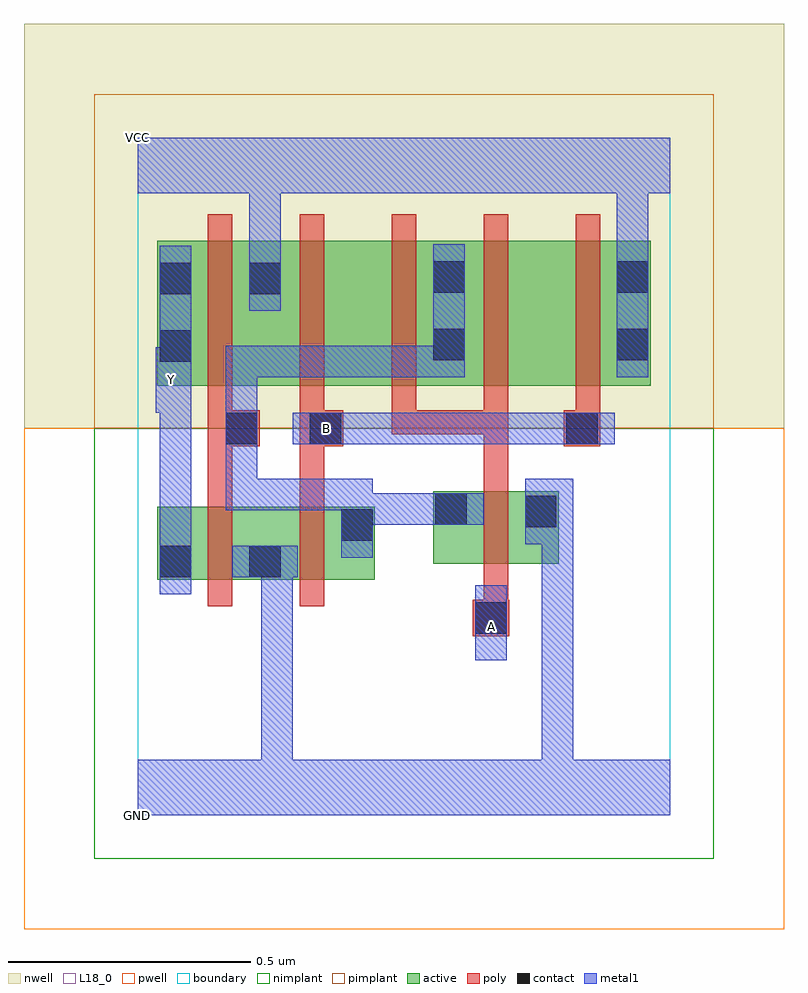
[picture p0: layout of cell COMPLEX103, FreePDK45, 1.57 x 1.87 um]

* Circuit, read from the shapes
.subckt COMPLEX103 A B GND VCC Y
M1 GND n1 Y VSUBS nfet w=0.15u l=0.05u
M2 n1 B GND VSUBS nfet w=0.15u l=0.05u
M3 GND A n1 VSUBS nfet w=0.15u l=0.05u
M4 VCC n1 Y n2 pfet w=0.3u l=0.05u
M5 n3 B VCC n2 pfet w=0.3u l=0.05u
M6 n1 A n3 n2 pfet w=0.3u l=0.05u
M7 n4 A n1 n2 pfet w=0.3u l=0.05u
M8 VCC B n4 n2 pfet w=0.3u l=0.05u
.ends

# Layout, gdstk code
import gdstk
lib = gdstk.Library(unit=1e-6, precision=1e-09)
def R(c, l, rs):  # rectangles x0, y0, x1, y1
    for r in rs: c.add(gdstk.rectangle(r[:2], r[2:], *l))
def A(c, l, x, y, w, h, nx, ny, dx, dy):  # array of equal rectangles
    R(c, l, [(x+i*dx, y+j*dy, x+i*dx+w, y+j*dy+h) for i in range(nx) for j in range(ny)])
active = (1, 0)
pwell = (2, 0)
nwell = (3, 0)
nimplant = (4, 0)
pimplant = (5, 0)
poly = (9, 0)
contact = (10, 0)
metal1 = (11, 0)
L18_0 = (18, 0)
boundary = (235, 0)

complex103 = lib.new_cell('COMPLEX103')
R(complex103, active, [(0.04,0.487,0.3,0.637), (0.04,0.487,0.115,0.637), (0.225,0.487,0.3,0.562), (0.225,0.487,0.49,0.637), (0.415,0.487,0.49,0.637), (0.61,0.52,0.87,0.67), (0.795,0.59,0.87,0.67), (0.61,0.595,0.685,0.67), (0.04,0.887,0.115,1.155), (0.04,0.887,0.3,1.187), (0.225,0.887,0.3,1.187), (0.225,0.887,0.455,1.187), (0.455,0.887,0.68,1.187), (0.605,0.887,0.835,1.187), (0.605,0.887,0.68,1.155), (0.835,0.887,1.06,1.187), (0.985,0.887,1.06,1.187)])
R(complex103, pwell, [(-0.235,-0.235,1.335,0.8)])
R(complex103, nwell, [(-0.235,0.8,1.335,1.635)])
R(complex103, nimplant, [(-0.09,-0.09,1.19,0.8)])
R(complex103, pimplant, [(-0.09,0.8,1.19,1.49)])
A(complex103, poly, 0.145, 0.787, 0.05, 0.095, 5, 1, 0.19, 0)
A(complex103, poly, 0.145, 0.832, 0.05, 0.41, 5, 1, 0.19, 0)
R(complex103, poly, [(0.692,0.37,0.767,0.445), (0.715,0.395,0.765,0.515), (0.145,0.432,0.195,0.692), (0.335,0.432,0.385,0.692), (0.715,0.465,0.765,0.725), (0.145,0.642,0.195,0.812), (0.335,0.642,0.385,0.812), (0.715,0.675,0.765,0.837), (0.145,0.762,0.252,0.837), (0.335,0.762,0.425,0.837), (0.88,0.762,0.955,0.837), (0.525,0.787,0.575,0.837), (0.525,0.787,0.765,0.837), (0.715,0.787,0.765,0.837), (0.715,0.787,0.765,0.837), (0.715,0.787,0.765,0.837)])
R(complex103, contact, [(0.697,0.375,0.762,0.44), (0.045,0.492,0.11,0.557), (0.23,0.492,0.295,0.557), (0.42,0.567,0.485,0.632), (0.8,0.595,0.865,0.66), (0.615,0.6,0.68,0.665), (0.182,0.767,0.247,0.832), (0.355,0.767,0.42,0.832), (0.885,0.767,0.95,0.832), (0.045,0.937,0.11,1.002), (0.61,0.94,0.675,1.005), (0.99,0.94,1.055,1.005), (0.045,1.077,0.11,1.142), (0.23,1.077,0.295,1.142), (0.61,1.08,0.675,1.145), (0.99,1.08,1.055,1.145)])
R(complex103, metal1, [(0,0,1.1,0.115), (0.255,0.05,0.32,0.115), (0.255,0.05,0.32,0.115), (0.255,0.05,0.32,0.115), (0.255,0.05,0.32,0.115), (0.255,0.05,0.32,0.115), (0.255,0.05,0.32,0.115), (0.255,0.05,0.32,0.115), (0.255,0.05,0.32,0.115), (0.255,0.05,0.32,0.557), (0.835,0.05,0.9,0.115), (0.835,0.05,0.9,0.115), (0.835,0.05,0.9,0.115), (0.835,0.05,0.9,0.115), (0.835,0.05,0.9,0.115), (0.835,0.05,0.9,0.115), (0.835,0.05,0.9,0.115), (0.835,0.05,0.9,0.115), (0.835,0.05,0.9,0.625), (0.697,0.32,0.762,0.475), (0.045,0.457,0.11,0.592), (0.195,0.492,0.33,0.557), (0.045,0.527,0.11,0.897), (0.42,0.532,0.485,0.667), (0.8,0.56,0.9,0.695), (0.42,0.6,0.625,0.665), (0.56,0.6,0.625,0.665), (0.56,0.6,0.645,0.665), (0.58,0.6,0.715,0.665), (0.42,0.602,0.485,0.667), (0.42,0.602,0.485,0.695), (0.182,0.63,0.247,0.695), (0.182,0.63,0.485,0.695), (0.182,0.63,0.247,0.867), (0.182,0.732,0.247,0.867), (0.32,0.767,0.457,0.832), (0.392,0.767,0.457,0.832), (0.392,0.767,0.457,0.832), (0.392,0.767,0.622,0.832), (0.557,0.767,0.622,0.832), (0.557,0.767,0.622,0.832), (0.557,0.767,0.622,0.832), (0.557,0.767,0.762,0.832), (0.697,0.767,0.762,0.832), (0.697,0.767,0.762,0.832), (0.697,0.767,0.762,0.832), (0.697,0.767,0.915,0.832), (0.85,0.767,0.985,0.832), (0.182,0.802,0.247,0.867), (0.182,0.802,0.247,0.867), (0.182,0.802,0.247,0.97), (0.037,0.832,0.11,0.967), (0.045,0.902,0.11,0.967), (0.045,0.902,0.11,1.177), (0.182,0.905,0.247,0.97), (0.182,0.905,0.485,0.97), (0.42,0.905,0.485,0.97), (0.42,0.905,0.485,0.97), (0.42,0.905,0.485,0.97), (0.42,0.905,0.622,0.97), (0.557,0.905,0.622,0.97), (0.557,0.905,0.675,0.97), (0.61,0.905,0.675,1.18), (0.99,0.905,1.055,1.18), (0.23,1.042,0.295,1.177), (0.23,1.112,0.295,1.35), (0.99,1.115,1.055,1.35), (0,1.285,1.1,1.4), (0.23,1.285,0.295,1.35), (0.23,1.285,0.295,1.35), (0.99,1.285,1.055,1.35), (0.99,1.285,1.055,1.35)])
R(complex103, L18_0, [(0,0,1.1,0.115), (0.255,0.05,0.32,0.115), (0.255,0.05,0.32,0.115), (0.255,0.05,0.32,0.115), (0.255,0.05,0.32,0.115), (0.255,0.05,0.32,0.115), (0.255,0.05,0.32,0.115), (0.255,0.05,0.32,0.115), (0.255,0.05,0.32,0.115), (0.255,0.05,0.32,0.557), (0.835,0.05,0.9,0.115), (0.835,0.05,0.9,0.115), (0.835,0.05,0.9,0.115), (0.835,0.05,0.9,0.115), (0.835,0.05,0.9,0.115), (0.835,0.05,0.9,0.115), (0.835,0.05,0.9,0.115), (0.835,0.05,0.9,0.115), (0.835,0.05,0.9,0.625), (0.697,0.32,0.762,0.475), (0.697,0.357,0.762,0.422), (0.045,0.457,0.11,0.592), (0.195,0.492,0.33,0.557), (0.045,0.527,0.11,0.897), (0.8,0.56,0.9,0.695), (0.32,0.767,0.457,0.832), (0.357,0.767,0.422,0.832), (0.392,0.767,0.457,0.832), (0.392,0.767,0.457,0.832), (0.392,0.767,0.622,0.832), (0.557,0.767,0.622,0.832), (0.557,0.767,0.622,0.832), (0.557,0.767,0.622,0.832), (0.557,0.767,0.762,0.832), (0.697,0.767,0.762,0.832), (0.697,0.767,0.762,0.832), (0.697,0.767,0.762,0.832), (0.697,0.767,0.915,0.832), (0.85,0.767,0.985,0.832), (0.037,0.832,0.11,0.967), (0.037,0.867,0.102,0.932), (0.045,0.902,0.11,1.177), (0.045,0.902,0.11,0.967), (0.99,0.905,1.055,1.18), (0.23,1.042,0.295,1.177), (0.23,1.112,0.295,1.35), (0.99,1.115,1.055,1.35), (0,1.285,1.1,1.4), (0.23,1.285,0.295,1.35), (0.23,1.285,0.295,1.35), (0.99,1.285,1.055,1.35), (0.99,1.285,1.055,1.35)])
R(complex103, boundary, [(0,0,1.1,1.4)])
complex103.add(gdstk.Label('A', (0.73,0.39), layer=11, texttype=0))
complex103.add(gdstk.Label('B', (0.39,0.8), layer=11, texttype=0))
complex103.add(gdstk.Label('Y', (0.07,0.9), layer=11, texttype=0))
complex103.add(gdstk.Label('VCC', (0,1.4), layer=11, texttype=0))
complex103.add(gdstk.Label('GND', (0,0), layer=11, texttype=0))

lib.write_gds('COMPLEX103.gds')
